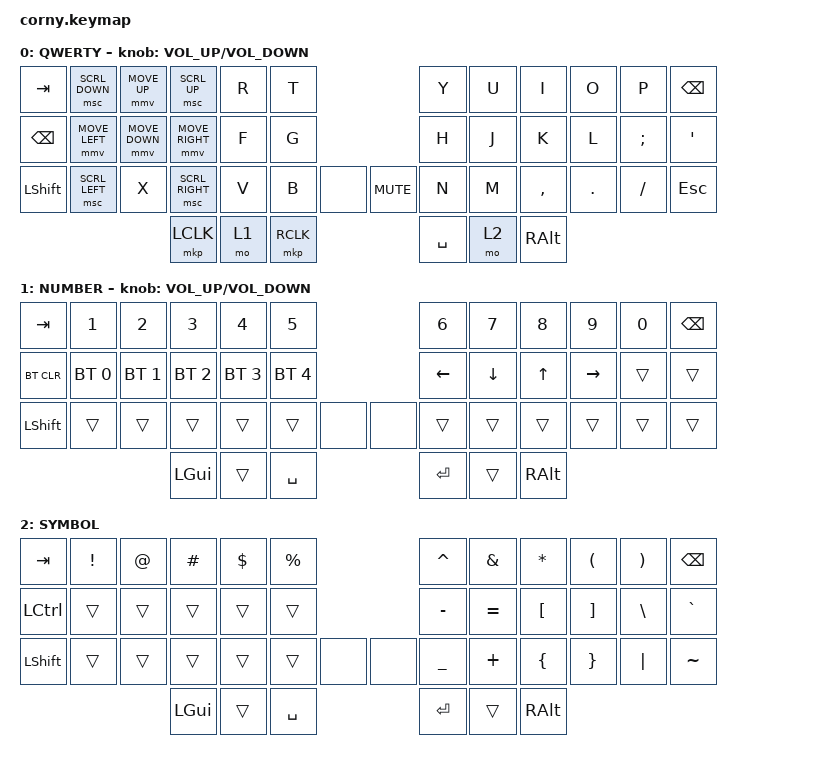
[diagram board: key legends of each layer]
#define ZMK_POINTING_DEFAULT_MOVE_VAL 750  // default: 600
#define ZMK_POINTING_DEFAULT_SCRL_VAL 20    // default: 10

#include <behaviors.dtsi>
#include <dt-bindings/zmk/bt.h>
#include <dt-bindings/zmk/keys.h>
#include <dt-bindings/zmk/pointing.h>
#include <dt-bindings/zmk/pointing.h>
#include <dt-bindings/zmk/pointing.h>

/ {
    chosen {
        zmk,physical-layout = &foostan_corny_6col_layout;

        // zmk,physical-layout = &foostan_corne_5col_layout;
    };
};

&mmv {
    time-to-max-speed-ms = <300>;
    acceleration-exponent = <2>;
};

&msc { acceleration-exponent = <2>; };

/ {
    combos {
        compatible = "zmk,combos";

        Escape {
            bindings = <&kp ESCAPE>;
            key-positions = <2 3>;
            layers = <1 0 2>;
        };
    };

    keymap {
        compatible = "zmk,keymap";

        default_layer {
            display-name = "QWERTY";
            bindings = <
&kp TAB        &msc SCRL_DOWN  &mmv MOVE_UP    &msc SCRL_UP     &kp R  &kp T                         &kp Y      &kp U  &kp I      &kp O    &kp P     &kp BSPC
&kp BACKSPACE  &mmv MOVE_LEFT  &mmv MOVE_DOWN  &mmv MOVE_RIGHT  &kp F  &kp G                         &kp H      &kp J  &kp K      &kp L    &kp SEMI  &kp SQT
&kp LSHFT      &msc SCRL_LEFT  &kp X           &msc SCRL_RIGHT  &kp V  &kp B      &none  &kp C_MUTE  &kp N      &kp M  &kp COMMA  &kp DOT  &kp FSLH  &kp ESC
                                               &mkp LCLK        &mo 1  &mkp RCLK                     &kp SPACE  &mo 2  &kp RALT
            >;

            sensor-bindings = <&inc_dec_kp C_VOLUME_UP C_VOLUME_DOWN>;
        };

        lower_layer {
            display-name = "NUMBER";
            bindings = <
&kp TAB     &kp N1        &kp N2        &kp N3        &kp N4        &kp N5                      &kp N6    &kp N7    &kp N8    &kp N9     &kp N0  &kp BSPC
&bt BT_CLR  &bt BT_SEL 0  &bt BT_SEL 1  &bt BT_SEL 2  &bt BT_SEL 3  &bt BT_SEL 4                &kp LEFT  &kp DOWN  &kp UP    &kp RIGHT  &trans  &trans
&kp LSHFT   &trans        &trans        &trans        &trans        &trans        &none  &none  &trans    &trans    &trans    &trans     &trans  &trans
                                        &kp LGUI      &trans        &kp SPACE                   &kp RET   &trans    &kp RALT
            >;

            sensor-bindings = <&inc_dec_kp C_VOLUME_UP C_VOLUME_DOWN>;
        };

        raise_layer {
            display-name = "SYMBOL";
            bindings = <
&kp TAB    &kp EXCL  &kp AT  &kp HASH  &kp DLLR  &kp PRCNT                &kp CARET  &kp AMPS   &kp ASTRK  &kp LPAR  &kp RPAR  &kp BSPC
&kp LCTRL  &trans    &trans  &trans    &trans    &trans                   &kp MINUS  &kp EQUAL  &kp LBKT   &kp RBKT  &kp BSLH  &kp GRAVE
&kp LSHFT  &trans    &trans  &trans    &trans    &trans     &none  &none  &kp UNDER  &kp PLUS   &kp LBRC   &kp RBRC  &kp PIPE  &kp TILDE
                             &kp LGUI  &trans    &kp SPACE                &kp RET    &trans     &kp RALT
            >;
        };
    };
};
